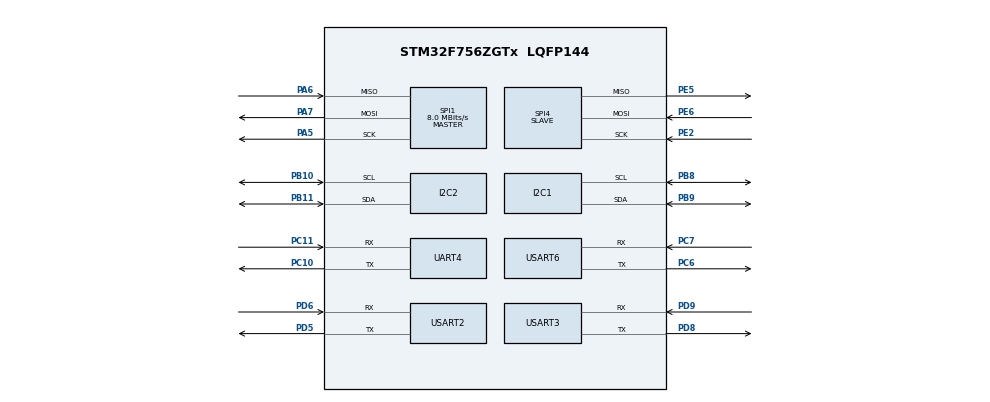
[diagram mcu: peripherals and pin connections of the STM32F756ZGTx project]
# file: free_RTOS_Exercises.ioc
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CORTEX_M7.default_mode_Activation=1
Dma.I2C1_TX.1.Direction=DMA_MEMORY_TO_PERIPH
Dma.I2C1_TX.1.FIFOMode=DMA_FIFOMODE_DISABLE
Dma.I2C1_TX.1.Instance=DMA1_Stream6
Dma.I2C1_TX.1.MemDataAlignment=DMA_MDATAALIGN_BYTE
Dma.I2C1_TX.1.MemInc=DMA_MINC_ENABLE
Dma.I2C1_TX.1.Mode=DMA_NORMAL
Dma.I2C1_TX.1.PeriphDataAlignment=DMA_PDATAALIGN_BYTE
Dma.I2C1_TX.1.PeriphInc=DMA_PINC_DISABLE
Dma.I2C1_TX.1.Priority=DMA_PRIORITY_LOW
Dma.I2C2_RX.0.Direction=DMA_PERIPH_TO_MEMORY
Dma.I2C2_RX.0.FIFOMode=DMA_FIFOMODE_DISABLE
Dma.I2C2_RX.0.Instance=DMA1_Stream2
Dma.I2C2_RX.0.MemDataAlignment=DMA_MDATAALIGN_BYTE
Dma.I2C2_RX.0.MemInc=DMA_MINC_ENABLE
Dma.I2C2_RX.0.Mode=DMA_NORMAL
Dma.I2C2_RX.0.PeriphDataAlignment=DMA_PDATAALIGN_BYTE
Dma.I2C2_RX.0.PeriphInc=DMA_PINC_DISABLE
Dma.I2C2_RX.0.Priority=DMA_PRIORITY_LOW
Dma.Request0=I2C2_RX
Dma.Request1=I2C1_TX
FREERTOS.Tasks01=defaultTask,0,256,StartDefaultTask,Default,NULL,Dynamic,NULL,NULL
I2C1.OwnAddress=10
I2C2.OwnAddress=33
Mcu.Family=STM32F7
Mcu.Name=STM32F756ZGTx
Mcu.Package=LQFP144
NVIC.DMA1_Stream2_IRQn=true\:5\:0\:false\:false\:true\:true\:false\:true\:true
NVIC.DMA1_Stream6_IRQn=true\:5\:0\:false\:false\:true\:true\:false\:true\:true
NVIC.I2C1_ER_IRQn=true\:5\:0\:false\:false\:true\:true\:true\:true\:true
NVIC.I2C1_EV_IRQn=true\:5\:0\:false\:false\:true\:true\:true\:true\:true
NVIC.I2C2_ER_IRQn=true\:5\:0\:false\:false\:true\:true\:true\:true\:true
NVIC.I2C2_EV_IRQn=true\:5\:0\:false\:false\:true\:true\:true\:true\:true
NVIC.PriorityGroup=NVIC_PRIORITYGROUP_4
NVIC.SPI1_IRQn=true\:5\:0\:false\:false\:true\:true\:true\:true\:true
NVIC.SPI4_IRQn=true\:5\:0\:false\:false\:true\:true\:true\:true\:true
NVIC.UART4_IRQn=true\:5\:0\:false\:false\:true\:true\:true\:true\:true
NVIC.USART2_IRQn=true\:5\:0\:false\:false\:true\:true\:true\:true\:true
NVIC.USART3_IRQn=true\:5\:0\:false\:false\:true\:true\:true\:true\:true
NVIC.USART6_IRQn=true\:5\:0\:false\:false\:true\:true\:true\:true\:true
PA5.Mode=Full_Duplex_Master
PA5.Signal=SPI1_SCK
PA6.Mode=Full_Duplex_Master
PA6.Signal=SPI1_MISO
PA7.Mode=Full_Duplex_Master
PA7.Signal=SPI1_MOSI
PB10.GPIO_Pu=GPIO_PULLUP
PB10.Mode=I2C
PB10.Signal=I2C2_SCL
PB11.GPIO_Pu=GPIO_PULLUP
PB11.Mode=I2C
PB11.Signal=I2C2_SDA
PB8.GPIO_Pu=GPIO_PULLUP
PB8.Mode=I2C
PB8.Signal=I2C1_SCL
PB9.GPIO_Pu=GPIO_PULLUP
PB9.Mode=I2C
PB9.Signal=I2C1_SDA
PC1.Signal=SPI2_MOSI
PC10.Mode=Asynchronous
PC10.Signal=UART4_TX
PC11.Mode=Asynchronous
PC11.Signal=UART4_RX
PC12.Signal=SPI3_MOSI
PC6.Mode=Asynchronous
PC6.Signal=USART6_TX
PC7.Mode=Asynchronous
PC7.Signal=USART6_RX
PD5.Mode=Asynchronous
PD5.Signal=USART2_TX
PD6.Mode=Asynchronous
PD6.Signal=USART2_RX
PD8.Mode=Asynchronous
PD8.Signal=USART3_TX
PD9.Mode=Asynchronous
PD9.Signal=USART3_RX
PE2.Mode=Full_Duplex_Slave
PE2.Signal=SPI4_SCK
PE4.GPIO_Label=SPI4 INPUT PIN
PE4.Signal=SPI4_NSS
PE5.Mode=Full_Duplex_Slave
PE5.Signal=SPI4_MISO
PE6.Mode=Full_Duplex_Slave
PE6.Signal=SPI4_MOSI
PE7.Signal=UART7_RX
PE8.Signal=UART7_TX
ProjectManager.HeapSize=0x200
ProjectManager.StackSize=0x400
ProjectManager.TargetToolchain=STM32CubeIDE
RCC.HSE_VALUE=25000000
RCC.HSI_VALUE=16000000
RCC.LSE_VALUE=32768
RCC.USBFreq_Value=96000000
RCC.VCOOutputFreq_Value=192000000
SPI1.CalculateBaudRate=8.0 MBits/s
SPI1.Direction=SPI_DIRECTION_2LINES
SPI1.Mode=SPI_MODE_MASTER
SPI1.VirtualType=VM_MASTER
SPI4.Direction=SPI_DIRECTION_2LINES
SPI4.Mode=SPI_MODE_SLAVE
SPI4.VirtualType=VM_SLAVE
USART2.VirtualMode-Asynchronous=VM_ASYNC
USART3.VirtualMode-Asynchronous=VM_ASYNC
USART6.VirtualMode-Asynchronous=VM_ASYNC
VP_CRC_VS_CRC.Mode=CRC_Activate
VP_FREERTOS_VS_CMSIS_V1.Mode=CMSIS_V1
board=custom

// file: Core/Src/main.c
/* USER CODE BEGIN Header */
/**
  ******************************************************************************
  * @file           : main.c
  * @brief          : Main program body
  ******************************************************************************
  * @attention
  *
  * Copyright (c) 2026 STMicroelectronics.
  * All rights reserved.
  *
  * This software is licensed under terms that can be found in the LICENSE file
  * in the root directory of this software component.
  * If no LICENSE file comes with this software, it is provided AS-IS.
  *
  ******************************************************************************
  */
/* USER CODE END Header */
#include "main.h"
#include "cmsis_os.h"
#include "crc.h"
#include "dma.h"
#include "i2c.h"
#include "spi.h"
#include "usart.h"
#include "gpio.h"

void SystemClock_Config(void);
static void MPU_Config(void);
void MX_FREERTOS_Init(void);

int main(void)
{

  /* MPU Configuration--------------------------------------------------------*/
  MPU_Config();

  /* MCU Configuration--------------------------------------------------------*/

  /* Reset of all peripherals, Initializes the Flash interface and the Systick. */
  HAL_Init();

  /* Configure the system clock */
  SystemClock_Config();

  /* Initialize all configured peripherals */
  MX_GPIO_Init();
  MX_DMA_Init();
  MX_USART3_UART_Init();
  MX_CRC_Init();
  MX_I2C1_Init();
  MX_I2C2_Init();
  MX_SPI1_Init();
  MX_USART2_UART_Init();
  MX_SPI4_Init();
  MX_UART4_Init();
  MX_USART6_UART_Init();

  /* Call init function for freertos objects (in cmsis_os2.c) */
  MX_FREERTOS_Init();

  /* Start scheduler */
  osKernelStart();

  /* We should never get here as control is now taken by the scheduler */

  /* Infinite loop */
  while (1)
  {

  }
}

void SystemClock_Config(void)
{
  RCC_OscInitTypeDef RCC_OscInitStruct = {0};
  RCC_ClkInitTypeDef RCC_ClkInitStruct = {0};

  /** Configure the main internal regulator output voltage
  */
  __HAL_RCC_PWR_CLK_ENABLE();
  __HAL_PWR_VOLTAGESCALING_CONFIG(PWR_REGULATOR_VOLTAGE_SCALE3);

  /** Initializes the RCC Oscillators according to the specified parameters
  * in the RCC_OscInitTypeDef structure.
  */
  RCC_OscInitStruct.OscillatorType = RCC_OSCILLATORTYPE_HSI;
  RCC_OscInitStruct.HSIState = RCC_HSI_ON;
  RCC_OscInitStruct.HSICalibrationValue = RCC_HSICALIBRATION_DEFAULT;
  RCC_OscInitStruct.PLL.PLLState = RCC_PLL_NONE;
  if (HAL_RCC_OscConfig(&RCC_OscInitStruct) != HAL_OK)
  {
    Error_Handler();
  }

  /** Initializes the CPU, AHB and APB buses clocks
  */
  RCC_ClkInitStruct.ClockType = RCC_CLOCKTYPE_HCLK|RCC_CLOCKTYPE_SYSCLK
                              |RCC_CLOCKTYPE_PCLK1|RCC_CLOCKTYPE_PCLK2;
  RCC_ClkInitStruct.SYSCLKSource = RCC_SYSCLKSOURCE_HSI;
  RCC_ClkInitStruct.AHBCLKDivider = RCC_SYSCLK_DIV1;
  RCC_ClkInitStruct.APB1CLKDivider = RCC_HCLK_DIV1;
  RCC_ClkInitStruct.APB2CLKDivider = RCC_HCLK_DIV1;

  if (HAL_RCC_ClockConfig(&RCC_ClkInitStruct, FLASH_LATENCY_0) != HAL_OK)
  {
    Error_Handler();
  }
}

 /* MPU Configuration */

void MPU_Config(void)
{
  MPU_Region_InitTypeDef MPU_InitStruct = {0};

  /* Disables the MPU */
  HAL_MPU_Disable();

  /** Initializes and configures the Region and the memory to be protected
  */
  MPU_InitStruct.Enable = MPU_REGION_ENABLE;
  MPU_InitStruct.Number = MPU_REGION_NUMBER0;
  MPU_InitStruct.BaseAddress = 0x0;
  MPU_InitStruct.Size = MPU_REGION_SIZE_4GB;
  MPU_InitStruct.SubRegionDisable = 0x87;
  MPU_InitStruct.TypeExtField = MPU_TEX_LEVEL0;
  MPU_InitStruct.AccessPermission = MPU_REGION_NO_ACCESS;
  MPU_InitStruct.DisableExec = MPU_INSTRUCTION_ACCESS_DISABLE;
  MPU_InitStruct.IsShareable = MPU_ACCESS_SHAREABLE;
  MPU_InitStruct.IsCacheable = MPU_ACCESS_NOT_CACHEABLE;
  MPU_InitStruct.IsBufferable = MPU_ACCESS_NOT_BUFFERABLE;

  HAL_MPU_ConfigRegion(&MPU_InitStruct);
  /* Enables the MPU */
  HAL_MPU_Enable(MPU_PRIVILEGED_DEFAULT);

}

void Error_Handler(void)
{
  __disable_irq();
  while (1)
  {
  }
}

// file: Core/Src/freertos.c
/* USER CODE BEGIN Header */
/**
  ******************************************************************************
  * File Name          : freertos.c
  * Description        : Code for freertos applications
  ******************************************************************************
  * @attention
  *
  * Copyright (c) 2026 STMicroelectronics.
  * All rights reserved.
  *
  * This software is licensed under terms that can be found in the LICENSE file
  * in the root directory of this software component.
  * If no LICENSE file comes with this software, it is provided AS-IS.
  *
  ******************************************************************************
  */
/* USER CODE END Header */

#include "FreeRTOS.h"
#include "task.h"
#include "main.h"
#include "cmsis_os.h"

/* USER CODE BEGIN Includes */
#include <string.h>
#include <stdio.h>
#include <stdlib.h>
//#include "crc.h"
#include <semphr.h>

#include "i2c.h"
#include "usart.h"
#include "spi.h"

#include "loopbackCRC.h"
#include "packet.h"

int _write(int file, char *ptr, int len)
{
    HAL_UART_Transmit(&huart3, (uint8_t*)ptr, len, HAL_MAX_DELAY);
    return len;
}

#define SPI1_DONE (1U << 0)
#define SPI4_DONE (1U << 1)

volatile uint8_t rxSPI1;
volatile uint8_t rxSPI4;

/* USER CODE END Includes */

osThreadId defaultTaskHandle;

/* USER CODE BEGIN FunctionPrototypes */
//uint8_t Consolebuff[MAX_PAYLOAD];
packet_t cmd;

QueueHandle_t packetQueue;
QueueHandle_t routeMsgQueue;
static QueueHandle_t periphQueueTable[PERIPH_COUNT];
QueueHandle_t resultQueue;

TaskHandle_t uartRxTask_Handle;
TaskHandle_t dispatcherTask_Handle;
TaskHandle_t routerTask_Handle;
TaskHandle_t UARTPeriphCheckTASK_Handle;
TaskHandle_t I2CPeriphCheckTASK_Handle;
TaskHandle_t SPIPeriphCheckTASK_Handle;
TaskHandle_t uartTx_Handle;

void uartRxTask(void *argument){
	for(;;){
    	 /* 1. WAIT: receive CMD from GBB */
    			ulTaskNotifyTake(pdTRUE, portMAX_DELAY);
    				 printPacket(&cmd);
    				 if (xQueueSend(routeMsgQueue, &cmd, portMAX_DELAY) != pdTRUE){
    					 printf("Send msg on QUEUE failed!\r\n");
    				 }
    					HAL_UART_Receive_IT(&huart2,(uint8_t*)&cmd,sizeof(packet_t));
    			}
}

//void dispatcherTask(void *arg){
//	packet_t pktCHECK;
//	for(;;)
//	{
//		if(xQueueReceive(packetQueue, &pktCHECK, portMAX_DELAY)==pdTRUE)
//		{
//			fillPacketMeta(pktCHECK,&g_testIdCounter);
//			if(xQueueSend(routeMsgQueue,&pktCHECK,portMAX_DELAY)!=pdTRUE)
//			{
//				printf("sending to routeMsgQueue Failed\r\n");
//			}
//		}
//	}
//}

void routerTask(void *arg){
	packet_t routerPKT;
	for(;;){
		if(xQueueReceive(routeMsgQueue, &routerPKT,portMAX_DELAY)==pdTRUE){
			if(xQueueSend(periphQueueTable[routerPKT.PERIPHERAL],&routerPKT,portMAX_DELAY)!=pdTRUE){
				printf("error sending to peripheral\r\n");
			}
		}
	}
}

void UARTPeriphCheckTASK(void *arg){
	packet_t UART_PKT;
	resProtocol result;
	for(;;){
		if(xQueueReceive(periphQueueTable[UART], &UART_PKT, portMAX_DELAY)==pdTRUE){
			result.testID=UART_PKT.TEST_ID;
			result.status = loopback.uart(UART_PKT.payLoad,UART_PKT.payloadSize,UART_PKT.numOfIter);
			if(xQueueSend(resultQueue,&result,portMAX_DELAY)!=pdTRUE){
				printf("sending FAILED\n");
			}
		}
	}
}

void I2CPeriphCheckTASK(void *arg){
	packet_t I2C_PKT;
	resProtocol result;
	for(;;){
		if(xQueueReceive(periphQueueTable[I2C], &I2C_PKT, portMAX_DELAY)!=pdFALSE){
			result.testID=I2C_PKT.TEST_ID;
			result.status = loopback.i2c(I2C_PKT.payLoad,I2C_PKT.payloadSize,I2C_PKT.numOfIter);
			if(xQueueSend(resultQueue,&result,portMAX_DELAY)!=pdTRUE){
							printf("sending FAILED\n");
			}
		}
	}
}

void SPIPeriphCheckTASK(void *arg){
	packet_t SPI_PKT;
	resProtocol result;
	for(;;){
		if(xQueueReceive(periphQueueTable[SPI], &SPI_PKT, portMAX_DELAY)!=pdFALSE){
			result.testID=SPI_PKT.TEST_ID;
			result.status = loopback.spi(SPI_PKT.payLoad,SPI_PKT.payloadSize,SPI_PKT.numOfIter);
			if(xQueueSend(resultQueue,&result,portMAX_DELAY)!=pdTRUE){
							printf("sending FAILED\n");
			}
		}
	}
}

void transmitTask(void *arg){
    resProtocol resTX;
	for(;;){
		if(xQueueReceive(resultQueue, &resTX, portMAX_DELAY)==pdTRUE){
			printf(
			 "\r\nTEST ID = %lu | PERIPH = %s | PASSED %u TIMES OUT OF %u\r\n",
			 resTX.testID,
			 periphStr[cmd.PERIPHERAL],
			 resTX.status,
			 cmd.numOfIter
			);
			packet_t pkt = makeResultPacket(resTX.testID,resTX.status==cmd.numOfIter);
			size_t tx_len = offsetof(packet_t, payLoad) + pkt.payloadSize;
			HAL_UART_Transmit(&huart2,(uint8_t*)&pkt,tx_len,HAL_MAX_DELAY);
		}
	}
}

/* USER CODE END FunctionPrototypes */

void StartDefaultTask(void const * argument);

void MX_FREERTOS_Init(void); /* (MISRA C 2004 rule 8.1) */

/* GetIdleTaskMemory prototype (linked to static allocation support) */
void vApplicationGetIdleTaskMemory( StaticTask_t **ppxIdleTaskTCBBuffer, StackType_t **ppxIdleTaskStackBuffer, uint32_t *pulIdleTaskStackSize );

/* USER CODE BEGIN GET_IDLE_TASK_MEMORY */
static StaticTask_t xIdleTaskTCBBuffer;
static StackType_t xIdleStack[configMINIMAL_STACK_SIZE];

void vApplicationGetIdleTaskMemory( StaticTask_t **ppxIdleTaskTCBBuffer, StackType_t **ppxIdleTaskStackBuffer, uint32_t *pulIdleTaskStackSize )
{
  *ppxIdleTaskTCBBuffer = &xIdleTaskTCBBuffer;
  *ppxIdleTaskStackBuffer = &xIdleStack[0];
  *pulIdleTaskStackSize = configMINIMAL_STACK_SIZE;
  /* place for user code */
}
/* USER CODE END GET_IDLE_TASK_MEMORY */

void MX_FREERTOS_Init(void) {
  /* USER CODE BEGIN Init */
	printf("hello guys lets begin\r\n");
HAL_UART_Receive_IT(&huart2,(uint8_t*)&cmd,sizeof(packet_t));
  /* USER CODE END Init */

  /* USER CODE BEGIN RTOS_SEMAPHORES */
	//doneRxSem = xSemaphoreCreateCounting(10, 0);
  /* USER CODE END RTOS_SEMAPHORES */

  /* USER CODE BEGIN RTOS_QUEUES */
//	packetQueue= xQueueCreate(4,sizeof(packet_t));

	//array of QueueTables
	periphQueueTable[UART] = xQueueCreate(4, sizeof(packet_t));
	periphQueueTable[I2C]  = xQueueCreate(4, sizeof(packet_t));
	periphQueueTable[SPI]  = xQueueCreate(4, sizeof(packet_t));

	routeMsgQueue =xQueueCreate(4,sizeof(packet_t));

	resultQueue=xQueueCreate(4,sizeof(resProtocol));

  /* USER CODE END RTOS_QUEUES */

  /* Create the thread(s) */
  /* definition and creation of defaultTask */
  osThreadDef(defaultTask, StartDefaultTask, osPriorityNormal, 0, 256);
  defaultTaskHandle = osThreadCreate(osThread(defaultTask), NULL);

  /* USER CODE BEGIN RTOS_THREADS */
	xTaskCreate(transmitTask,"transmitTask", 256, NULL, 1, &uartTx_Handle);
//	xTaskCreate(dispatcherTask, "dispatcherTask", 256, NULL, 1, &dispatcherTask_Handle);

	xTaskCreate(routerTask, "routerTask", 256, NULL, 1, &routerTask_Handle);

	xTaskCreate(UARTPeriphCheckTASK, "UARTPeriphCheckTASK", 256, NULL, 1, &UARTPeriphCheckTASK_Handle);
	xTaskCreate(I2CPeriphCheckTASK, "I2CPeriphCheckTASK", 256, NULL, 1, &I2CPeriphCheckTASK_Handle);
	xTaskCreate(SPIPeriphCheckTASK, "SPIPeriphCheckTASK", 256, NULL, 1, &SPIPeriphCheckTASK_Handle);

	xTaskCreate(uartRxTask, "uartRxTask", 256, NULL, 1, &uartRxTask_Handle);
  /* USER CODE END RTOS_THREADS */

}

/* USER CODE BEGIN Header_StartDefaultTask */
/**
  * @brief  Function implementing the defaultTask thread.
  * @param  argument: Not used
  * @retval None
  */
/**
  ******************************************************************************
  * File Name          : freertos.c
  * Description        : Code for freertos applications
  ******************************************************************************
  * @attention
  *
  * Copyright (c) 2026 STMicroelectronics.
  * All rights reserved.
  *
  * This software is licensed under terms that can be found in the LICENSE file
  * in the root directory of this software component.
  * If no LICENSE file comes with this software, it is provided AS-IS.
  *
  ******************************************************************************
  */
/* USER CODE END Header */

/* Private typedef -----------------------------------------------------------*/
/* USER CODE BEGIN PTD */

/*--------------CALLBACKS-----------*/
void HAL_UART_RxCpltCallback(UART_HandleTypeDef *huart)
{
    BaseType_t xHigherPriorityTaskWoken = pdFALSE;

    if (huart == &huart2)
        {
            xTaskNotifyFromISR(
                uartRxTask_Handle,
                0,
                eNoAction,
                &xHigherPriorityTaskWoken
            );
        }

    if (huart == &huart4)
    {
    	   xTaskNotifyFromISR(
    	        UARTPeriphCheckTASK_Handle,
    	        0,
				eNoAction,
    	        &xHigherPriorityTaskWoken
    	    );

    }
    if (huart == &huart6){
    	   xTaskNotifyFromISR(
    	        UARTPeriphCheckTASK_Handle,
    	        0,
				eNoAction,
    	        &xHigherPriorityTaskWoken
    	    );
    }
    portYIELD_FROM_ISR(xHigherPriorityTaskWoken);
}

void HAL_I2C_SlaveRxCpltCallback(I2C_HandleTypeDef *hi2c){
    BaseType_t xHigherPriorityTaskWoken = pdFALSE;

	if(hi2c==&hi2c2)
	{
		 xTaskNotifyFromISR(
				 	 	 	 I2CPeriphCheckTASK_Handle,
		    	    	            0,
		    	    	            eNoAction,
		    	    	            &xHigherPriorityTaskWoken
		    	    	        );
	}
    portYIELD_FROM_ISR(xHigherPriorityTaskWoken);
}

void HAL_SPI_RxCpltCallback(SPI_HandleTypeDef *hspi){
       if (hspi == &hspi4) {
    	   rxSPI4=1;
       }
}

void HAL_SPI_TxRxCpltCallback(SPI_HandleTypeDef *hspi){
       if (hspi == &hspi1) {
    	   rxSPI1=1;
       }
}

/* USER CODE END PTD */

/* Private define ------------------------------------------------------------*/
/* USER CODE BEGIN PD */

/* USER CODE END PD */

/* Private macro -------------------------------------------------------------*/
/* USER CODE BEGIN PM */

/* USER CODE END PM */

/* Private variables ---------------------------------------------------------*/
/* USER CODE BEGIN Variables */
/* USER CODE END Variables */

/* USER CODE BEGIN Header_StartDefaultTask */
/**
  * @brief  Function implementing the defaultTask thread.
  * @param  argument: Not used
  * @retval None
  */
/* USER CODE END Header_StartDefaultTask */
void StartDefaultTask(void const * argument)
{
  for(;;)
  {
    osDelay(1);
  }
}
